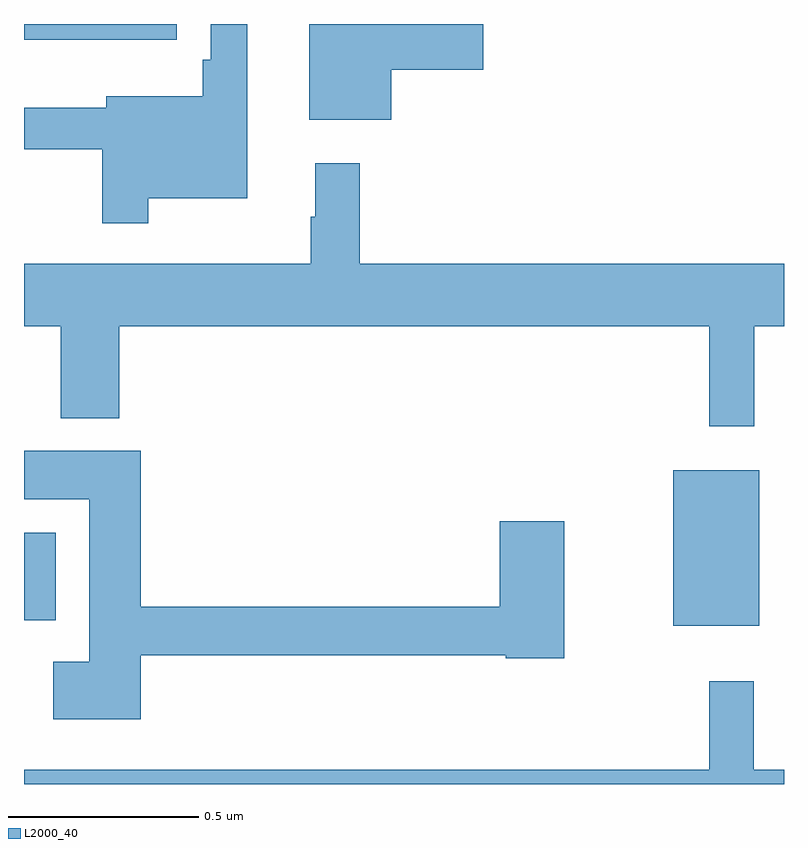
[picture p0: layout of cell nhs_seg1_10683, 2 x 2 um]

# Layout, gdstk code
import gdstk
lib = gdstk.Library(unit=1e-6, precision=1e-09)
def R(c, l, rs):  # rectangles x0, y0, x1, y1
    for r in rs: c.add(gdstk.rectangle(r[:2], r[2:], *l))
def P(c, l, *ps):  # polygons
    for p in ps: c.add(gdstk.Polygon(p, *l))
L2000_40 = (2000, 40)

nhs_seg1_10683 = lib.new_cell('nhs_seg1_10683')
R(nhs_seg1_10683, L2000_40, [(245.708,545.615,245.935,546.025), (244,545.63,244.084,545.86), (244,547.157,244.402,547.199)])
P(nhs_seg1_10683, L2000_40, [(244.966,547.079),(245.209,547.079),(245.209,547.199),(244.751,547.199),(244.751,546.947),(244.966,546.947)],
  [(244.327,546.74),(244.588,546.74),(244.588,547.199),(244.491,547.199),(244.491,547.105),(244.471,547.105),(244.471,547.009),(244.217,547.009),(244.217,546.979),(244,546.979),(244,546.87),(244.206,546.87),(244.206,546.675),(244.327,546.675)],
  [(245.922,546.404),(246,546.404),(246,546.568),(244.883,546.568),(244.883,546.832),(244.766,546.832),(244.766,546.692),(244.755,546.692),(244.755,546.568),(244,546.568),(244,546.404),(244.097,546.404),(244.097,546.161),(244.25,546.161),(244.25,546.404),(245.803,546.404),(245.803,546.141),(245.922,546.141)],
  [(244.307,545.538),(245.268,545.538),(245.268,545.53),(245.422,545.53),(245.422,545.89),(245.252,545.89),(245.252,545.666),(244.307,545.666),(244.307,546.076),(244,546.076),(244,545.948),(244.172,545.948),(244.172,545.521),(244.077,545.521),(244.077,545.369),(244.307,545.369)],
  [(246,545.236),(245.921,545.236),(245.921,545.47),(245.803,545.47),(245.803,545.236),(244,545.236),(244,545.199),(246,545.199)])

lib.write_gds('nhs_seg1_10683.gds')
